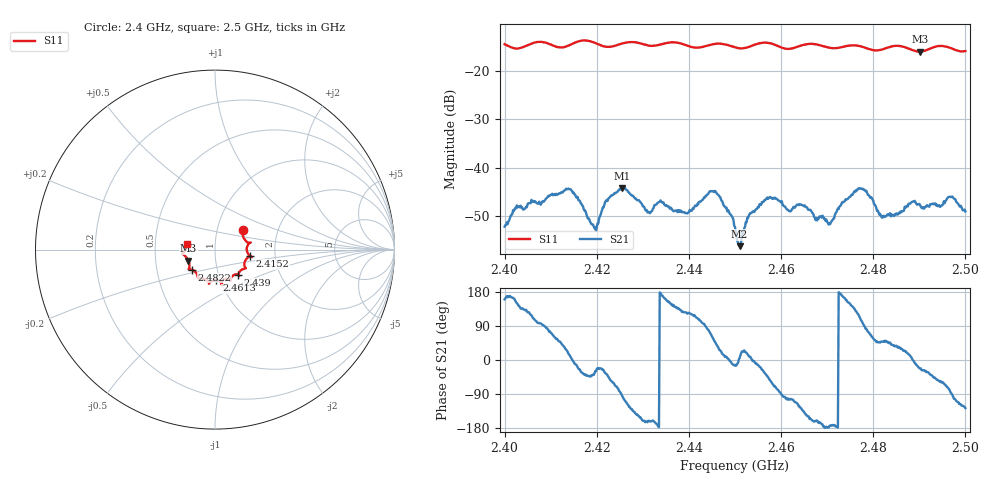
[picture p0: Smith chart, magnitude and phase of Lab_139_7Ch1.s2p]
# Hz S RI R 50
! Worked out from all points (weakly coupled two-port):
!   601 points, 2.4 GHz to 2.5 GHz, reference 50 ohm
!   highest |S21| = -44.22 dB at 2.4255 GHz (marker M1); lowest = -56.3 dB at 2.451 GHz (marker M2)
!   lowest |S11| = -15.9 dB at 2.4902 GHz (marker M3), VSWR 1.38, Z = 36.9 - j4.63 ohm
!   |S11| at or under -10 dB: start of sweep to end of sweep
!   S12 and S22 are empty: the file has one direction only
!   S11 on the Smith chart (normalised r, x): 2.4 GHz: 1.33, +0.31; 2.4152 GHz: 1.48, -0.11; 2.439 GHz: 1.24, -0.36; 2.4613 GHz: 0.96, -0.34; 2.4822 GHz: 0.76, -0.17; 2.5 GHz: 0.72, +0.05
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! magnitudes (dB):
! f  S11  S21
! 2.4 GHz  -14.4  -52.3
! 2.4027 GHz  -15.3  -47.9
! 2.4152 GHz  -14.1  -45.6
! 2.4167 GHz  -13.6  -47.5
! 2.4198 GHz  -14.2  -53.1
! 2.4255 GHz  -14.2  -44.2
! 2.4312 GHz  -14.6  -49.2
! 2.4333 GHz  -14.5  -47.3
! 2.439 GHz  -14.5  -49.3
! 2.4453 GHz  -14.3  -44.9
! 2.45 GHz  -15.0  -52.3
! 2.451 GHz  -15.2  -56.3
! 2.4565 GHz  -14.0  -46.8
! 2.4613 GHz  -15.3  -48.7
! 2.4667 GHz  -14.3  -49.2
! 2.4707 GHz  -15.1  -51.7
! 2.4773 GHz  -14.8  -44.4
! 2.4822 GHz  -15.4  -50.0
! 2.4833 GHz  -15.0  -49.8
! 2.4902 GHz  -15.9  -47.8
! 2.4968 GHz  -15.2  -46.1
! 2.5 GHz  -15.8  -49.1
